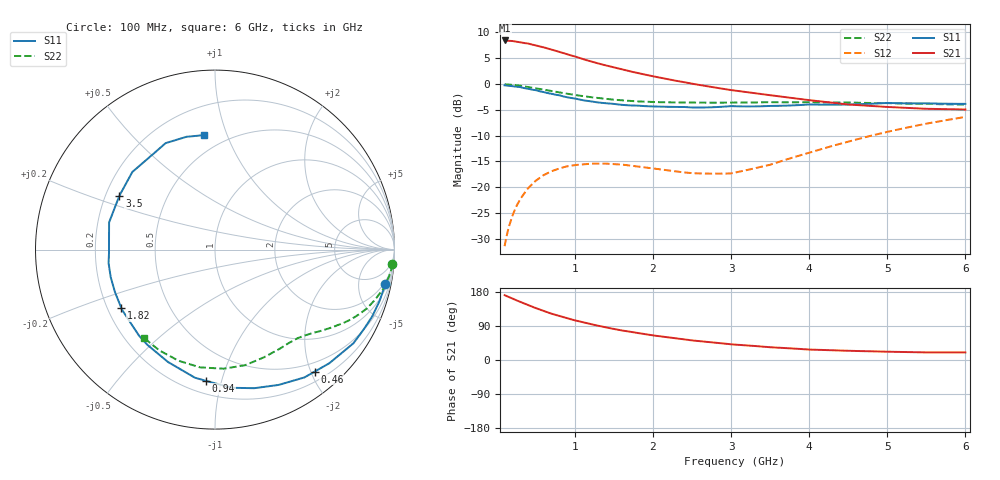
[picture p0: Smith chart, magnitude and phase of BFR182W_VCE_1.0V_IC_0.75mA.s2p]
! Infineon Technologies  Discrete & RF Semiconductors
! BFR182W
! VCE =  1.0 V,  IC = 0.75 mA
! Common Emitter S-Parameters:  Nov 2015
# GHz  S  MA  R  50
!  f  S11  S21  S12  S22
! GHz  MAG  ANG  MAG  ANG  MAG  ANG  MAG  ANG
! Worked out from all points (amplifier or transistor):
!   192 points, 100 MHz to 6 GHz, reference 50 ohm
!   highest |S21| = 8.4 dB at 100 MHz (marker M1)
!   |S21| within 3 dB of that: start of sweep to 977.1 MHz
!   unconditionally stable (mu >= 1): 2.232 GHz to 3.619 GHz
!   at 440 MHz: K = 0.19, MSG = 13.6 dB, |S12| = -19.6 dB
!   at 1.7 GHz: K = 0.76, MSG = 9.1 dB, |S12| = -15.8 dB
!   at 6 GHz: K = 0.90, MSG = 0.7 dB, |S12| = -6.4 dB
!   S11 on the Smith chart (normalised r, x): 100 MHz: 1.56, -9.68; 460 MHz: 0.35, -2.06; 940 MHz: 0.28, -0.89; 1.82 GHz: 0.26, -0.27; 3.5 GHz: 0.26, +0.25; 6 GHz: 0.38, +0.83
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0.1  0.9683 -11.5  2.631 171.1  0.0269 82.6  0.9921 -4.7
0.155  0.9592 -18.0  2.611 166.1  0.0414 78.9  0.9863 -7.2
0.24  0.9414 -27.5  2.573 158.5  0.0628 73.1  0.9719 -10.9
0.4  0.8982 -44.8  2.457 144.8  0.0976 63.1  0.9346 -17.4
0.46  0.8775 -50.8  2.392 140.1  0.1084 59.2  0.9182 -19.6
0.5  0.8693 -55.0  2.358 136.9  0.1158 57.0  0.9081 -21.1
0.6  0.8332 -64.8  2.257 129.4  0.131 51.9  0.8798 -24.2
0.7  0.8025 -74.2  2.149 122.2  0.1428 47.2  0.8531 -27.0
0.8  0.7759 -82.9  2.046 115.9  0.1522 43.0  0.8267 -29.5
0.94  0.7326 -94.0  1.896 107.9  0.1612 38.0  0.794 -32.5
1.1  0.6955 -105.6  1.741 99.8  0.1665 33.2  0.762 -35.6
1.2  0.6787 -112.7  1.653 94.5  0.1693 30.4  0.744 -37.5
1.42  0.648 -126.6  1.494 85.1  0.1687 26.1  0.7127 -40.9
1.6  0.6269 -136.7  1.383 78.0  0.1657 24.0  0.6935 -43.5
1.82  0.615 -148.1  1.265 70.7  0.1586 22.8  0.6756 -46.7
2.08  0.6022 -160.4  1.152 62.9  0.1494 23.7  0.6654 -50.6
2.5  0.5913 -177.3  1.004 51.7  0.1368 29.7  0.6598 -56.9
3.1  0.6063 162.6  0.851 40.0  0.1411 47.7  0.659 -67.7
3.5  0.6115 150.5  0.777 33.7  0.165 58.7  0.6656 -75.4
4.1  0.6295 134.4  0.683 27.0  0.2272 65.3  0.6625 -88.1
5.1  0.651 112.8  0.593 21.5  0.3569 62.0  0.6479 -110.2
6  0.6406 95.6  0.565 20.0  0.4792 52.6  0.6315 -129.0
